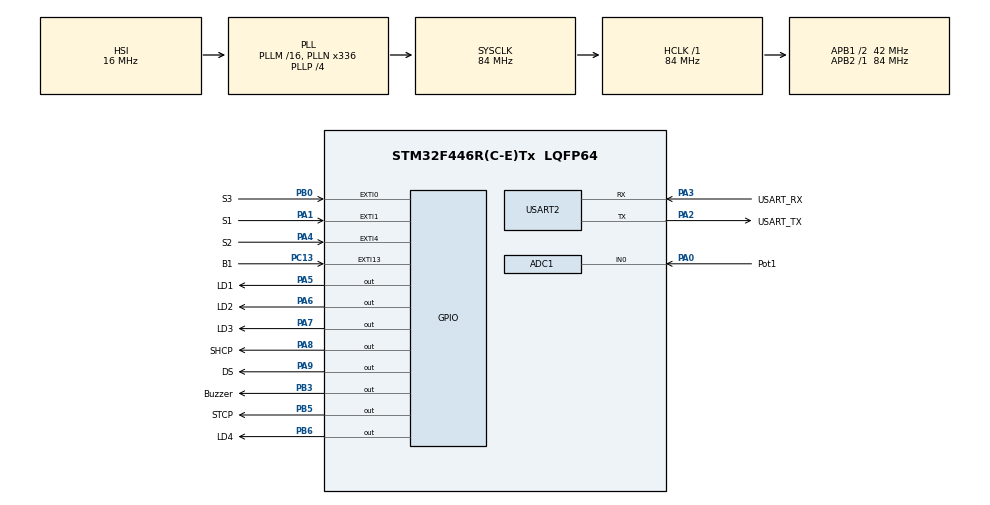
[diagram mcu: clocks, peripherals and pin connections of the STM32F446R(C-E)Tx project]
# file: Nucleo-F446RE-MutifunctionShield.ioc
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ADC1.Channel-0\#ChannelRegularConversion=ADC_CHANNEL_0
ADC1.NbrOfConversion=1
ADC1.NbrOfConversionFlag=1
ADC1.Rank-0\#ChannelRegularConversion=1
ADC1.SamplingTime-0\#ChannelRegularConversion=ADC_SAMPLETIME_480CYCLES
ADC1.master=1
Dma.ADC1.0.Direction=DMA_PERIPH_TO_MEMORY
Dma.ADC1.0.FIFOMode=DMA_FIFOMODE_DISABLE
Dma.ADC1.0.Instance=DMA2_Stream0
Dma.ADC1.0.MemDataAlignment=DMA_MDATAALIGN_WORD
Dma.ADC1.0.MemInc=DMA_MINC_ENABLE
Dma.ADC1.0.Mode=DMA_NORMAL
Dma.ADC1.0.PeriphDataAlignment=DMA_PDATAALIGN_WORD
Dma.ADC1.0.PeriphInc=DMA_PINC_DISABLE
Dma.ADC1.0.Priority=DMA_PRIORITY_LOW
Dma.Request0=ADC1
Mcu.Family=STM32F4
Mcu.Name=STM32F446R(C-E)Tx
Mcu.Package=LQFP64
NVIC.ADC_IRQn=true\:0\:0\:false\:false\:true\:true\:true\:true
NVIC.DMA2_Stream0_IRQn=true\:0\:0\:false\:false\:true\:false\:true\:true
NVIC.EXTI0_IRQn=true\:0\:0\:false\:false\:true\:true\:true\:true
NVIC.EXTI15_10_IRQn=true\:0\:0\:false\:false\:true\:true\:true\:true
NVIC.EXTI1_IRQn=true\:0\:0\:false\:false\:true\:true\:true\:true
NVIC.EXTI4_IRQn=true\:0\:0\:false\:false\:true\:true\:true\:true
NVIC.PriorityGroup=NVIC_PRIORITYGROUP_0
PA0-WKUP.GPIO_Label=Pot1
PA0-WKUP.Signal=ADCx_IN0
PA1.GPIO_Label=S1
PA1.Signal=GPXTI1
PA13.GPIO_Label=TMS
PA13.Mode=Serial_Wire
PA13.Signal=SYS_JTMS-SWDIO
PA14.GPIO_Label=TCK
PA14.Mode=Serial_Wire
PA14.Signal=SYS_JTCK-SWCLK
PA2.GPIO_Label=USART_TX
PA2.Mode=Asynchronous
PA2.Signal=USART2_TX
PA3.GPIO_Label=USART_RX
PA3.Mode=Asynchronous
PA3.Signal=USART2_RX
PA4.GPIO_Label=S2
PA4.Signal=GPXTI4
PA5.GPIO_Label=LD1
PA5.Signal=GPIO_Output
PA6.GPIO_Label=LD2
PA6.Signal=GPIO_Output
PA7.GPIO_Label=LD3
PA7.Signal=GPIO_Output
PA8.GPIO_Label=SHCP
PA8.Signal=GPIO_Output
PA9.GPIO_Label=DS
PA9.Signal=GPIO_Output
PB0.GPIO_Label=S3
PB0.Signal=GPXTI0
PB3.GPIO_Label=Buzzer
PB3.GPIO_PuPd=GPIO_PULLUP
PB3.PinState=GPIO_PIN_SET
PB3.Signal=GPIO_Output
PB5.GPIO_Label=STCP
PB5.Signal=GPIO_Output
PB6.GPIO_Label=LD4
PB6.Signal=GPIO_Output
PC13.GPIO_Label=B1
PC13.Signal=GPXTI13
PC14-OSC32_IN.Mode=LSE-External-Oscillator
PC14-OSC32_IN.Signal=RCC_OSC32_IN
PC15-OSC32_OUT.Mode=LSE-External-Oscillator
PC15-OSC32_OUT.Signal=RCC_OSC32_OUT
PH0-OSC_IN.Mode=HSE-External-Oscillator
PH0-OSC_IN.Signal=RCC_OSC_IN
PH1-OSC_OUT.Mode=HSE-External-Oscillator
PH1-OSC_OUT.Signal=RCC_OSC_OUT
ProjectManager.HeapSize=0x200
ProjectManager.StackSize=0x400
ProjectManager.TargetToolchain=STM32CubeIDE
RCC.48MHZClocksFreq_Value=84000000
RCC.AHBFreq_Value=84000000
RCC.APB1CLKDivider=RCC_HCLK_DIV2
RCC.APB1Freq_Value=42000000
RCC.APB1TimFreq_Value=84000000
RCC.APB2Freq_Value=84000000
RCC.APB2TimFreq_Value=84000000
RCC.CortexFreq_Value=84000000
RCC.FLatency-AdvancedSettings=FLASH_LATENCY_2
RCC.HCLKFreq_Value=84000000
RCC.HSE_VALUE=8000000
RCC.HSI_VALUE=16000000
RCC.PLLN=336
RCC.PLLP=RCC_PLLP_DIV4
RCC.SYSCLKFreq_VALUE=84000000
RCC.SYSCLKSource=RCC_SYSCLKSOURCE_PLLCLK
RCC.USBFreq_Value=168000000
RCC.VCOOutputFreq_Value=336000000
SH.ADCx_IN0.0=ADC1_IN0,IN0
TIM6.Prescaler=84-1
USART2.VirtualMode=VM_ASYNC
VP_TIM6_VS_ClockSourceINT.Mode=Enable_Timer
board=NUCLEO-F446RE

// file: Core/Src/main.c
/* USER CODE BEGIN Header */
/**
 ******************************************************************************
 * @file           : main.c
 * @brief          : Main program body
 ******************************************************************************
 * @attention
 *
 * Copyright (c) 2024 STMicroelectronics.
 * All rights reserved.
 *
 * This software is licensed under terms that can be found in the LICENSE file
 * in the root directory of this software component.
 * If no LICENSE file comes with this software, it is provided AS-IS.
 *
 ******************************************************************************
 */
/* USER CODE END Header */
#include "main.h"
#include "adc.h"
#include "dma.h"
#include "tim.h"
#include "usart.h"
#include "gpio.h"

/* USER CODE BEGIN Includes */
#include "noRTOS.h"
#include "BSP/multifunc.h"
static uint8_t global_button_state = 0;
static bool global_button_event = false;
static uint32_t global_adc_value = 0;
static bool global_adc_event = false;
/* USER CODE END Includes */

void SystemClock_Config(void);

/* USER CODE BEGIN 0 */

void noRTOS_setup(void) {
	mf_reset_display();
	HAL_ADC_Start_DMA(&hadc1, &global_adc_value, 1);
	mf_write_char_to_display_segment(0, '1');
	mf_write_char_to_display_segment(1, '2');
	mf_write_char_to_display_segment(2, '3');
	mf_write_char_to_display_segment(3, '4');
}

/**
 * definition of callback functions
 */
void read_adc_values(void) {
	if (global_adc_event) {
		global_adc_event = false;
		uint32_t adc_in_percent = global_adc_value * 100 / 4000;
		mf_write_gauge_to_display_segment(3, adc_in_percent);
		HAL_ADC_Start_DMA(&hadc1, &global_adc_value, 1);
	}
}

void read_button_state(void) {
	uint8_t button = 0;
	button |= MF_BUTTON_1_READ() << 0;
	button |= MF_BUTTON_2_READ() << 1;
	button |= MF_BUTTON_3_READ() << 2;

	/* invert button state and mask to 3 bits since buttons are low active */
	button = ~button & 0x07;
	if (button != global_button_state) {
		global_button_state = button;
		global_button_event = true;
	}
}

void inter_task_communication(void) {
	if (global_button_event) {
		global_button_event = false;
		if (global_button_state != 0) {
			printf("Button got pressed\n");
		} else if (global_button_state == 0) {
			printf("Button got released\n");
		}
	}

	if (global_button_state & 0x01) {
		MF_BEEP_ON();
	} else {
		MF_BEEP_OFF();
	}
}

void test_callback1(void) {
	printf("Button state %d\n\n", global_button_state);
}

void test_callback2(void) {
	printf("\tHello World Task 2\n");
}

void demo_seven_segment(void) {
	static uint8_t cnt;
	mf_write_char_to_display_segment(0, mf_uint_to_char(cnt));
	mf_write_char_to_display_segment(1, mf_uint_to_char(cnt));
	mf_write_char_to_display_segment(2, mf_uint_to_char(cnt));
	//mf_write_char_to_display_segment(3, mf_uint_to_char(cnt));
	cnt += 1;
	if (cnt >= 16) {
		cnt = 0;
	}
}

void refresh_gui(void) {
	mf_refresh_display();
}

void demo_led(void) {
	static uint8_t state = 0;
	static uint8_t shift = 1;
	if (state == 0) {
		shift = shift << 1;
		if (shift == 8)
			state = 1;
	} else {
		shift = shift >> 1;
		if (shift == 1)
			state = 0;
	}
	switch (shift) {
	case 1:
		MF_LED1_turn_on();
		MF_LED2_turn_off();
		MF_LED3_turn_off();
		MF_LED4_turn_off();
		break;
	case 2:
		MF_LED1_turn_off();
		MF_LED2_turn_on();
		MF_LED3_turn_off();
		MF_LED4_turn_off();
		break;
	case 4:
		MF_LED1_turn_off();
		MF_LED2_turn_off();
		MF_LED3_turn_on();
		MF_LED4_turn_off();
		break;
	case 8:
		MF_LED1_turn_off();
		MF_LED2_turn_off();
		MF_LED3_turn_off();
		MF_LED4_turn_on();
		break;
	default:
		break;
	}
}

/* USER CODE END 0 */

int main(void) {

	/* MCU Configuration--------------------------------------------------------*/

	/* Reset of all peripherals, Initializes the Flash interface and the Systick. */
	HAL_Init();

	/* Configure the system clock */
	SystemClock_Config();

	/* Initialize all configured peripherals */
	MX_GPIO_Init();
	MX_DMA_Init();
	MX_USART2_UART_Init();
	MX_ADC1_Init();
	MX_TIM6_Init();
	/* USER CODE BEGIN 2 */

	noRTOS_task_t refresh_gui_t = { .delay = eNORTOS_PERIODE_6ms, .task_callback = refresh_gui };
	noRTOS_add_task_to_scheduler(&refresh_gui_t);

	noRTOS_task_t read_button_state_t = { .delay = eNORTOS_PERIODE_10ms, .task_callback = read_button_state };
	noRTOS_add_task_to_scheduler(&read_button_state_t);

	noRTOS_task_t inter_task_communication_t = { .delay = eNORTOS_PERIODE_100ms, .task_callback = inter_task_communication };
	noRTOS_add_task_to_scheduler(&inter_task_communication_t);

	noRTOS_task_t demo_led_t = { .delay = eNORTOS_PERIODE_500ms, .task_callback = demo_led };
	noRTOS_add_task_to_scheduler(&demo_led_t);

	noRTOS_task_t adc_t = { .delay = eNORTOS_PERIODE_500ms, .task_callback = read_adc_values };
	noRTOS_add_task_to_scheduler(&adc_t);

	noRTOS_task_t demo_seven_segment_t = { .delay = eNORTOS_PERIODE_1s, .task_callback = demo_seven_segment };
	noRTOS_add_task_to_scheduler(&demo_seven_segment_t);

	noRTOS_task_t test_task1 = { .delay = eNORTOS_PERIODE_1s, .task_callback = test_callback1 };
	noRTOS_add_task_to_scheduler(&test_task1);

	noRTOS_task_t test_task2 = { .delay = eNORTOS_PERIODE_5s, .task_callback = test_callback2 };
	noRTOS_add_task_to_scheduler(&test_task2);

	/* this runs for ever */
	noRTOS_run_scheduler();
	/* USER CODE END 2 */

	/* Infinite loop */
	while (1) {

		/* USER CODE BEGIN 3 */
		printf("hello multi-function shield\n");
		MF_LED1_toggle();
		MF_LED2_toggle();
		MF_LED3_toggle();
		MF_LED4_toggle();
		DELAY(200);
	}
	/* USER CODE END 3 */
}

void SystemClock_Config(void) {
	RCC_OscInitTypeDef RCC_OscInitStruct = { 0 };
	RCC_ClkInitTypeDef RCC_ClkInitStruct = { 0 };

	/** Configure the main internal regulator output voltage
	 */
	__HAL_RCC_PWR_CLK_ENABLE();
	__HAL_PWR_VOLTAGESCALING_CONFIG(PWR_REGULATOR_VOLTAGE_SCALE3);

	/** Initializes the RCC Oscillators according to the specified parameters
	 * in the RCC_OscInitTypeDef structure.
	 */
	RCC_OscInitStruct.OscillatorType = RCC_OSCILLATORTYPE_HSI;
	RCC_OscInitStruct.HSIState = RCC_HSI_ON;
	RCC_OscInitStruct.HSICalibrationValue = RCC_HSICALIBRATION_DEFAULT;
	RCC_OscInitStruct.PLL.PLLState = RCC_PLL_ON;
	RCC_OscInitStruct.PLL.PLLSource = RCC_PLLSOURCE_HSI;
	RCC_OscInitStruct.PLL.PLLM = 16;
	RCC_OscInitStruct.PLL.PLLN = 336;
	RCC_OscInitStruct.PLL.PLLP = RCC_PLLP_DIV4;
	RCC_OscInitStruct.PLL.PLLQ = 2;
	RCC_OscInitStruct.PLL.PLLR = 2;
	if (HAL_RCC_OscConfig(&RCC_OscInitStruct) != HAL_OK) {
		Error_Handler();
	}

	/** Initializes the CPU, AHB and APB buses clocks
	 */
	RCC_ClkInitStruct.ClockType = RCC_CLOCKTYPE_HCLK | RCC_CLOCKTYPE_SYSCLK
			| RCC_CLOCKTYPE_PCLK1 | RCC_CLOCKTYPE_PCLK2;
	RCC_ClkInitStruct.SYSCLKSource = RCC_SYSCLKSOURCE_PLLCLK;
	RCC_ClkInitStruct.AHBCLKDivider = RCC_SYSCLK_DIV1;
	RCC_ClkInitStruct.APB1CLKDivider = RCC_HCLK_DIV2;
	RCC_ClkInitStruct.APB2CLKDivider = RCC_HCLK_DIV1;

	if (HAL_RCC_ClockConfig(&RCC_ClkInitStruct, FLASH_LATENCY_2) != HAL_OK) {
		Error_Handler();
	}
}

/* USER CODE BEGIN 4 */
void HAL_ADC_ConvCpltCallback(ADC_HandleTypeDef *hadc) {
	if (hadc->Instance == ADC1) {
		global_adc_event = true;
	}
}
/* USER CODE END 4 */

void Error_Handler(void) {
	__disable_irq();
	while (1) {
	}
}
